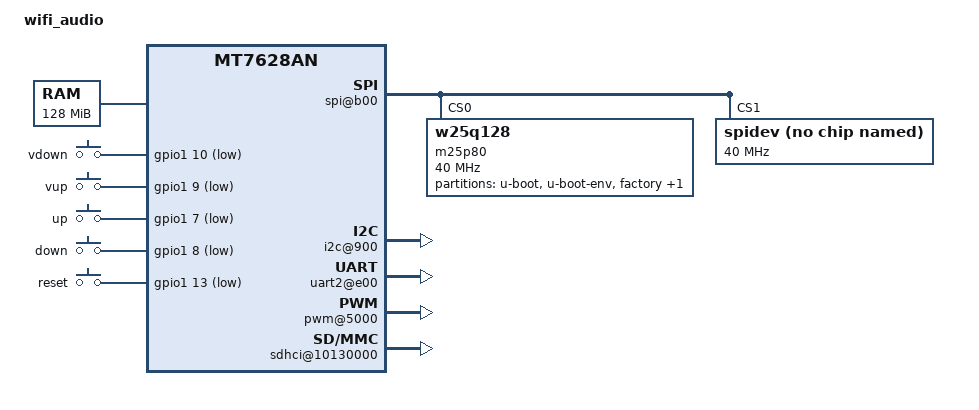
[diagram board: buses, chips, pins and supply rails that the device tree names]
/dts-v1/;

/include/ "mt7628an.dtsi"

/ {
	compatible = "mediatek,wifi_audio", "mediatek,mt7628an-soc";
	model = "wifi_audio";

	chosen {
		bootargs = "console=ttyS0,57600";
	};

	memory@0 {
		device_type = "memory";
		reg = <0x0 0x8000000>;
	};

	pinctrl {
		state_default: pinctrl0 {
			gpio {
				ralink,group = "gpio";
				ralink,function = "gpio";
			};
			perst {
				ralink,group = "perst";
				ralink,function = "gpio";
			};
			refclk {
				ralink,group = "refclk";
				ralink,function = "gpio";
			};
			i2s {
				ralink,group = "i2s";
				ralink,function = "i2s";
			};
			spis {
				ralink,group = "spis";
				ralink,function = "gpio";
			};
			wled_an {
				ralink,group = "wled_an";
				ralink,function = "wled_an";
			};
			ephy_p0 {
				ralink,group = "ephy_p0";
				ralink,function = "gpio";
			};
			ephy_p1 {
				ralink,group = "ephy_p1";
				ralink,function = "gpio";
			};
			ephy_p2 {
				ralink,group = "ephy_p2";
				ralink,function = "gpio";
			};
			ephy_p3 {
				ralink,group = "ephy_p3";
				ralink,function = "gpio";
			};
			ephy_p4 {
				ralink,group = "ephy_p4";
				ralink,function = "gpio";
			};
			wdt {
				ralink,group = "wdt";
				ralink,function = "gpio";
			};
			i2c {
				ralink,group = "i2c";
				ralink,function = "i2c";
			};
			pwm0 {
				ralink,group = "pwm0";
				ralink,function = "gpio";
			};
			pwm1 {
				ralink,group = "pwm1";
				ralink,function = "gpio";
			};
			uart2 {
				ralink,group = "uart2";
				ralink,function = "gpio";
			};
		};
	};

	palmbus@10000000 {
		spi@b00 {
			status = "okay";

			pinctrl-names = "default";
			pinctrl-0 = <&spi_pins>, <&spi_cs1_pins>;

			m25p80@0 {
				#address-cells = <1>;
				#size-cells = <1>;
				compatible = "w25q128";
				reg = <0 0>;
				linux,modalias = "m25p80", "w25q128";
				spi-max-frequency = <40000000>;
				m25p,chunked-io = <31>;

				partition@0 {
					label = "u-boot";
					reg = <0x0 0x30000>;
					#read-only;
				};

				partition@30000 {
					label = "u-boot-env";
					reg = <0x30000 0x10000>;
				};

				factory: partition@40000 {
					label = "factory";
					reg = <0x40000 0x10000>;
					#read-only;
				};

				partition@50000 {
					label = "firmware";
					reg = <0x50000 0x1fb0000>;
				};
			};

			spidev@1 {
				#address-cells = <1>;
				#size-cells = <1>;
				compatible = "spidev";
				reg = <1 0>;
				spi-max-frequency = <40000000>;
			};
		};

		i2c@900 {
			status = "okay";
		};

		uart1@d00 {
			status = "disabled";
		};

		uart2@e00 {
			status = "okay";
		};

		pwm@5000 {
			status = "okay";
		};
	};

	ethernet@10100000 {
		mtd-mac-address = <&factory 0x28>;
	};

	sdhci@10130000 {
		status = "okay";
		mediatek,cd-low;
//		mediatek,cd-poll;
	};


	gpio-keys-polled {
		compatible = "gpio-keys-polled";
		#address-cells = <1>;
		#size-cells = <0>;
		poll-interval = <20>;
		vdown {
			label = "vdown";
			gpios = <&gpio1 10 1>;//gpio42
			linux,code = <115>;
			//linux,input-type = <5>; /* EV_SW */
		};
		vup {
			label = "vup";
			gpios = <&gpio1 9 1>; //gpio41
			linux,code = <114>;
			//linux,input-type = <5>; /* EV_SW */
		};
		up {
			label = "up";
			gpios = <&gpio1 7 1>;//gpio39
			linux,code = <103>;
			//linux,input-type = <5>; /* EV_SW */
		};
		down {
			label = "down";
			gpios = <&gpio1 8 1>;//gpio40
			linux,code = <108>;
			//linux,input-type = <5>; /* EV_SW */
		};
		reset {
			label = "reset";
			gpios = <&gpio1 13 1>; //gpio45 uart1_tx
			linux,code = <0x198>;
			
		};
	};

};
